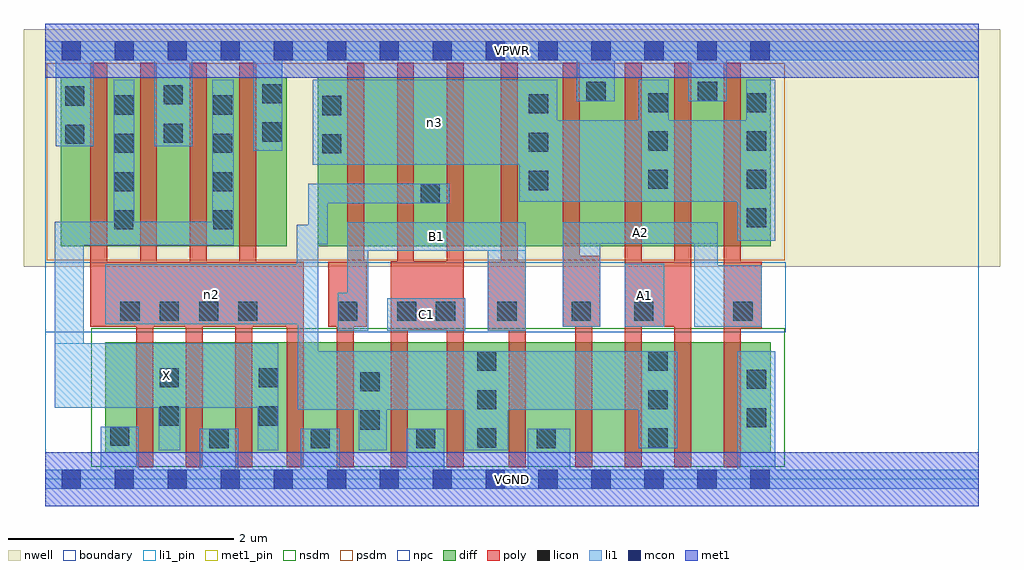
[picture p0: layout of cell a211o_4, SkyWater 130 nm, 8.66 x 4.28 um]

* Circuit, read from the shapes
.subckt a211o_4 A1 A2 B1 C1 VGND VPWR X n2 n3
XM1 X n2 VGND VSUBS sky130_fd_pr__nfet_01v8 w=0.98 l=0.15 m=4
XM2 n2 B1 VGND VSUBS sky130_fd_pr__nfet_01v8 w=0.98 l=0.15 m=2
XM3 VGND C1 n2 VSUBS sky130_fd_pr__nfet_01v8 w=0.98 l=0.15 m=2
XM4 n1 A2 VGND VSUBS sky130_fd_pr__nfet_01v8 w=0.98 l=0.15
XM5 n2 A1 n1 VSUBS sky130_fd_pr__nfet_01v8 w=0.98 l=0.15
XM6 n4 A1 n2 VSUBS sky130_fd_pr__nfet_01v8 w=0.98 l=0.15
XM7 VGND A2 n4 VSUBS sky130_fd_pr__nfet_01v8 w=0.98 l=0.15
XM8 X n2 VPWR n5 sky130_fd_pr__pfet_01v8 w=1.5 l=0.15 m=4
XM9 n6 B1 n3 n5 sky130_fd_pr__pfet_01v8 w=1.5 l=0.15
XM10 n2 C1 n6 n5 sky130_fd_pr__pfet_01v8 w=1.5 l=0.15
XM11 n7 C1 n2 n5 sky130_fd_pr__pfet_01v8 w=1.5 l=0.15
XM12 n3 B1 n7 n5 sky130_fd_pr__pfet_01v8 w=1.5 l=0.15
XM13 VPWR A2 n3 n5 sky130_fd_pr__pfet_01v8 w=1.5 l=0.15 m=2
XM14 n3 A1 VPWR n5 sky130_fd_pr__pfet_01v8 w=1.5 l=0.15 m=2
.ends

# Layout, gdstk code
import gdstk
lib = gdstk.Library(unit=1e-6, precision=1e-09)
def R(c, l, rs):  # rectangles x0, y0, x1, y1
    for r in rs: c.add(gdstk.rectangle(r[:2], r[2:], *l))
def A(c, l, x, y, w, h, nx, ny, dx, dy):  # array of equal rectangles
    R(c, l, [(x+i*dx, y+j*dy, x+i*dx+w, y+j*dy+h) for i in range(nx) for j in range(ny)])
nwell = (64, 20)
diff = (65, 20)
poly = (66, 20)
licon = (66, 44)
li1_pin = (67, 16)
li1 = (67, 20)
mcon = (67, 44)
met1_pin = (68, 16)
met1 = (68, 20)
nsdm = (93, 44)
psdm = (94, 20)
npc = (95, 20)
boundary = (235, 4)

a211o_4 = lib.new_cell('a211o_4')
R(a211o_4, nwell, [(-0.19,1.885,8.47,3.99), (0,1.885,8.28,3.99)])
R(a211o_4, diff, [(0.53,0.235,6.435,1.215), (0.135,2.065,2.14,3.565), (2.415,2.065,6.435,3.565)])
A(a211o_4, poly, 0.805, 0.105, 0.15, 1.825, 3, 1, 0.44, 0)
A(a211o_4, poly, 5.14, 0.105, 0.15, 3.59, 3, 1, 0.44, 0)
A(a211o_4, poly, 0.4, 1.35, 0.15, 2.345, 4, 1, 0.44, 0)
R(a211o_4, poly, [(2.14,0.105,2.29,1.93), (2.585,0.105,2.735,1.93), (3.065,0.105,3.215,1.935), (3.56,0.105,3.71,3.695), (4.11,0.105,4.26,1.93), (4.7,0.105,4.85,1.98), (3.925,1.315,4.26,1.93), (4.04,1.315,4.19,3.695), (3.065,1.32,3.71,1.935), (3.12,1.32,3.27,3.695), (6.02,1.34,6.355,1.93), (0.4,1.35,2.29,1.93), (2.51,1.35,2.85,1.93), (2.68,1.35,2.83,3.695), (4.59,1.35,4.74,3.695), (4.59,1.35,4.925,1.98), (5.14,1.35,5.73,1.93)])
A(a211o_4, licon, 3.83, 0.28, 0.17, 0.17, 1, 3, 0, 0.34)
A(a211o_4, licon, 5.35, 0.28, 0.17, 0.17, 1, 3, 0, 0.34)
A(a211o_4, licon, 0.665, 1.405, 0.17, 0.17, 3, 1, 0.35, 0)
A(a211o_4, licon, 0.61, 2.215, 0.17, 0.17, 1, 4, 0, 0.34)
A(a211o_4, licon, 1.49, 2.215, 0.17, 0.17, 1, 4, 0, 0.34)
A(a211o_4, licon, 6.225, 2.235, 0.17, 0.17, 1, 4, 0, 0.34)
A(a211o_4, licon, 4.29, 2.565, 0.17, 0.17, 1, 3, 0, 0.34)
A(a211o_4, licon, 5.35, 2.575, 0.17, 0.17, 1, 3, 0, 0.34)
R(a211o_4, licon, [(1.455,0.275,1.625,0.445), (2.355,0.275,2.525,0.445), (3.29,0.275,3.46,0.445), (4.36,0.275,4.53,0.445), (0.575,0.295,0.745,0.465), (2.795,0.44,2.965,0.61), (6.225,0.46,6.395,0.63), (1.015,0.475,1.185,0.645), (1.895,0.475,2.065,0.645), (2.795,0.78,2.965,0.95), (6.225,0.8,6.395,0.97), (1.015,0.815,1.185,0.985), (1.895,0.815,2.065,0.985), (1.71,1.405,1.88,1.575), (2.595,1.405,2.765,1.575), (3.12,1.405,3.29,1.575), (3.465,1.405,3.635,1.575), (4.01,1.405,4.18,1.575), (4.67,1.405,4.84,1.575), (5.225,1.405,5.395,1.575), (6.105,1.405,6.275,1.575), (3.33,2.45,3.5,2.62), (2.455,2.89,2.625,3.06), (0.175,2.975,0.345,3.145), (1.05,2.985,1.22,3.155), (1.925,2.995,2.095,3.165), (2.455,3.23,2.625,3.4), (0.175,3.315,0.345,3.485), (1.05,3.325,1.22,3.495), (1.925,3.335,2.095,3.505), (4.8,3.355,4.97,3.525), (5.79,3.355,5.96,3.525)])
R(a211o_4, li1_pin, [(0.085,0.635,2.065,1.205), (3.035,1.315,3.725,1.605), (5.14,1.35,5.49,1.91), (2.68,2.025,4.26,2.28), (4.59,2.09,5.965,2.28)])
R(a211o_4, li1, [(0,-0.085,8.28,0.085), (0.49,-0.085,0.83,0.465), (1.37,-0.085,1.71,0.445), (2.265,-0.085,2.61,0.445), (3.205,-0.085,3.54,0.445), (4.28,-0.085,4.655,0.445), (6.14,-0.085,6.475,1.135), (1.005,0.255,1.195,1.205), (1.885,0.255,2.065,1.205), (2.78,0.255,3.03,1.135), (3.72,0.255,4.105,1.135), (5.265,0.275,5.605,1.135), (2.24,0.615,5.605,1.135), (2.24,0.615,2.42,2.255), (0.085,0.635,2.065,1.205), (0.085,0.635,0.34,2.285), (1.005,0.945,2.065,1.205), (2.595,1.315,2.865,1.655), (2.68,1.315,2.865,2.28), (3.035,1.315,3.725,1.605), (3.925,1.315,4.26,2.28), (4.59,1.35,4.925,2.28), (5.14,1.35,5.49,1.91), (5.755,1.35,6.355,1.9), (5.755,1.35,5.965,2.28), (0.53,1.375,2.42,1.905), (2.23,1.375,2.42,2.255), (2.68,2.025,4.26,2.28), (0.085,2.075,1.67,2.285), (0.605,2.075,0.79,3.545), (1.48,2.075,1.67,3.545), (2.33,2.085,2.505,2.62), (4.59,2.09,5.965,2.28), (6.14,2.115,6.475,3.185), (6.22,2.115,6.475,3.545), (2.33,2.45,3.585,2.62), (4.205,2.46,6.475,3.185), (4.205,2.46,4.54,3.545), (5.265,2.46,5.53,3.545), (2.37,2.79,4.54,3.545), (1.845,2.915,2.1,3.885), (0.09,2.955,0.43,3.885), (0.965,2.955,1.305,3.885), (4.715,3.355,5.05,3.885), (5.705,3.355,6.045,3.885), (0,3.715,8.28,3.885)])
A(a211o_4, mcon, 0.145, -0.085, 0.17, 0.17, 5, 2, 0.47, 3.8)
A(a211o_4, mcon, 2.965, -0.085, 0.17, 0.17, 8, 2, 0.47, 3.8)
R(a211o_4, mcon, [(2.5,-0.085,2.67,0.085), (2.5,3.715,2.67,3.885)])
R(a211o_4, met1_pin, [(0,-0.24,8.28,0.24), (0,3.56,8.28,4.04)])
R(a211o_4, met1, [(0,-0.24,8.28,0.24), (0,3.56,8.28,4.04)])
R(a211o_4, nsdm, [(0.405,0.11,6.56,1.34)])
R(a211o_4, psdm, [(0.01,1.94,6.56,3.69)])
R(a211o_4, npc, [(0,1.305,6.57,1.925)])
R(a211o_4, boundary, [(0,0,8.28,3.8)])
a211o_4.add(gdstk.Label('A1', (5.315,1.63), layer=67, texttype=5))
a211o_4.add(gdstk.Label('A2', (5.277,2.185), layer=67, texttype=5))
a211o_4.add(gdstk.Label('B1', (3.47,2.152), layer=67, texttype=5))
a211o_4.add(gdstk.Label('C1', (3.38,1.46), layer=67, texttype=5))
a211o_4.add(gdstk.Label('X', (1.075,0.92), layer=67, texttype=5))
a211o_4.add(gdstk.Label('n2', (1.475,1.64), layer=67, texttype=5))
a211o_4.add(gdstk.Label('n3', (3.455,3.167), layer=67, texttype=5))
a211o_4.add(gdstk.Label('VPWR', (4.14,3.8), layer=68, texttype=5))
a211o_4.add(gdstk.Label('VGND', (4.14,0), layer=68, texttype=5))
a211o_4.add(gdstk.Label('A1', (5.315,1.63), layer=67, texttype=16))
a211o_4.add(gdstk.Label('A2', (5.277,2.185), layer=67, texttype=16))
a211o_4.add(gdstk.Label('B1', (3.47,2.152), layer=67, texttype=16))
a211o_4.add(gdstk.Label('C1', (3.38,1.46), layer=67, texttype=16))
a211o_4.add(gdstk.Label('X', (1.075,0.92), layer=67, texttype=16))
a211o_4.add(gdstk.Label('VPWR', (4.14,3.8), layer=68, texttype=16))
a211o_4.add(gdstk.Label('VGND', (4.14,0), layer=68, texttype=16))

lib.write_gds('a211o_4.gds')
